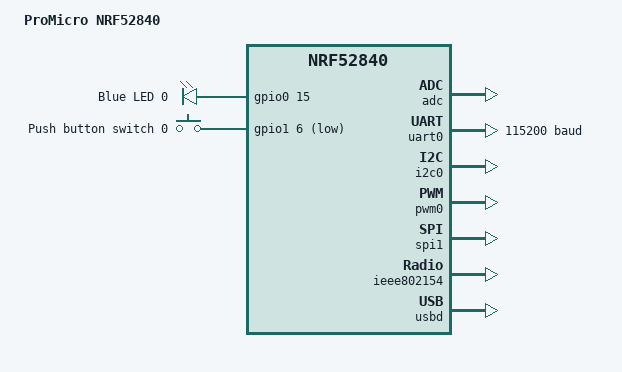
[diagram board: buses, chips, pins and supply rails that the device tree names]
/*
 * Copyright (c) 2018-2023 Nordic Semiconductor ASA
 * Copyright (c) 2017 Linaro Limited
 *
 * SPDX-License-Identifier: Apache-2.0
 */

 /dts-v1/;
 #include <nordic/nrf52840_qiaa.dtsi>
 #include "promicro_nrf52840-pinctrl.dtsi"
 #include <zephyr/dt-bindings/input/input-event-codes.h>
 
 / {
	 model = "ProMicro NRF52840";
	 compatible = "other,promicro-nrf52840";
 
	 chosen {
		//  zephyr,console = &cdc_acm_uart;
		//  zephyr,shell-uart = &cdc_acm_uart;
		//  zephyr,uart-mcumgr = &cdc_acm_uart;
		//  zephyr,bt-mon-uart = &cdc_acm_uart;
		//  zephyr,bt-c2h-uart = &cdc_acm_uart;
		 zephyr,sram = &sram0;
		 zephyr,flash = &flash0;
		 zephyr,code-partition = &slot0_partition;
		 zephyr,ieee802154 = &ieee802154;
	 };

	 leds {
		 compatible = "gpio-leds";
		 led0_blue: led_0 {
			 gpios = <&gpio0 15 GPIO_ACTIVE_HIGH>;
			 label = "Blue LED 0";
		 };
	 };

	 buttons {
		 compatible = "gpio-keys";
		 button0: button_0 {
			 gpios = <&gpio1 6 (GPIO_PULL_UP | GPIO_ACTIVE_LOW)>;
			 label = "Push button switch 0";
			 zephyr,code = <INPUT_KEY_0>;
		 };
	 };
 
	 /* These aliases are provided for compatibility with samples */
	 aliases {
		 sw0 = &button0;
		 led0 = &led0_blue;
		 led0-blue = &led0_blue;
		 mcuboot-button0 = &button0;
		 mcuboot-led0 = &led0_blue;
		 watchdog0 = &wdt0;
	 };
 };
 
 &adc {
	 status = "okay";
 };
 
 &gpiote {
	 status = "okay";
 };
 
 &uicr {
	 nfct-pins-as-gpios;
	 gpio-as-nreset;
 };
 
 &gpio0 {
	 status = "okay";
 };
 
 &gpio1 {
	 status = "okay";
 };
 
 &uart0 {
	 compatible = "nordic,nrf-uarte";
	 status = "okay";
	 current-speed = <115200>;
	 pinctrl-0 = <&uart0_default>;
	 pinctrl-1 = <&uart0_sleep>;
	 pinctrl-names = "default", "sleep";
 };
 
 &i2c0 {
	 compatible = "nordic,nrf-twi";
	 status = "okay";
	 pinctrl-0 = <&i2c0_default>;
	 pinctrl-1 = <&i2c0_sleep>;
	 pinctrl-names = "default", "sleep";
 };
 
 &i2c1 {
	 compatible = "nordic,nrf-twi";
	 /* Cannot be used together with spi1. */
	 /* status = "okay"; */
	 pinctrl-0 = <&i2c1_default>;
	 pinctrl-1 = <&i2c1_sleep>;
	 pinctrl-names = "default", "sleep";
 };
 
 &pwm0 {
	 status = "okay";
	 pinctrl-0 = <&pwm0_default>;
	 pinctrl-1 = <&pwm0_sleep>;
	 pinctrl-names = "default", "sleep";
 };
 
 /*
  * By default, not adding all available SPI instances (spi2, spi3) due to
  * limited GPIOs available on dongle board.
  */
 &spi0 {
	 compatible = "nordic,nrf-spi";
	 /* Cannot be used together with i2c0. */
	 /* status = "okay"; */
	 pinctrl-0 = <&spi0_default>;
	 pinctrl-1 = <&spi0_sleep>;
	 pinctrl-names = "default", "sleep";
 };
 
 &spi1 {
	 compatible = "nordic,nrf-spi";
	 status = "okay";
	 pinctrl-0 = <&spi1_default>;
	 pinctrl-1 = <&spi1_sleep>;
	 pinctrl-names = "default", "sleep";
 };
 
 &ieee802154 {
	 status = "okay";
 };

&flash0 {
	partitions {
		compatible = "fixed-partitions";
		#address-cells = <1>;
		#size-cells = <1>;

		/* MCUboot placed after Nordic MBR (this is set with the FLASH_LOAD_OFFSET
			* Kconfig value when BOARD_HAS_NRF5_BOOTLOADER is enabled), otherwise MCUboot
			* will be placed at 0x0. The size of this partition ensures that MCUBoot can
			* be built with CDC ACM support and w/o optimizations.
			*/
		boot_partition: partition@0 {
			label = "mcuboot";
			reg = <0x00000000 0x00010000>;
		};

		slot0_partition: partition@10000 {
			label = "image-0";
			reg = <0x00010000 0x00066000>;
		};
		slot1_partition: partition@76000 {
			label = "image-1";
			reg = <0x00076000 0x00066000>;
		};
		storage_partition: partition@dc000 {
			label = "storage";
			reg = <0x000dc000 0x00004000>;
		};

		/* Nordic nRF5 bootloader <0xe0000 0x1c000>
			*
			* In addition, the last and second last flash pages
			* are used by the nRF5 bootloader and MBR to store settings.
			*/
	};
};
 
 zephyr_udc0: &usbd {
	 compatible = "nordic,nrf-usbd";
	 status = "okay";
 
	 cdc_acm_uart: cdc_acm_uart {
		 compatible = "zephyr,cdc-acm-uart";
	 };
 };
